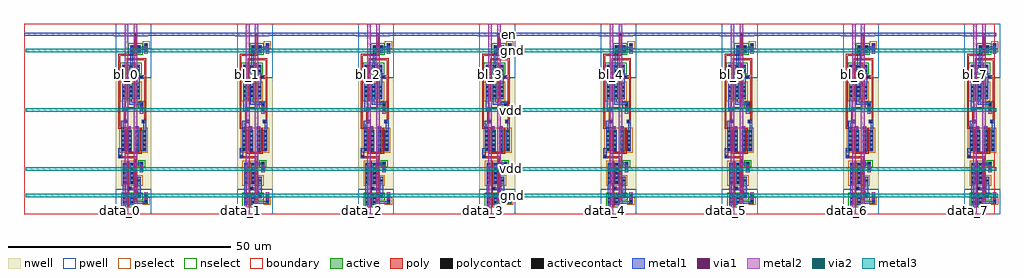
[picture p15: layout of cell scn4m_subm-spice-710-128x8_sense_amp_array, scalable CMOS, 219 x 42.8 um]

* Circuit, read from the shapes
.subckt scn4m_subm-spice-710-128x8_sense_amp_array bl_0 bl_1 bl_2 bl_3 bl_4 bl_5 bl_6 bl_7 br_0 br_1 br_2 br_3 br_4 br_5 br_6 br_7 data_0 data_1 data_2 data_3 data_4 data_5 data_6 data_7 en gnd vdd
M1 n1 n2 n3 gnd nfet w=1.8u l=0.4u
M2 gnd n4 data_0 gnd nfet w=2.4u l=0.4u
M3 n2 n3 n1 gnd nfet w=1.8u l=0.4u
M4 n4 n3 gnd gnd nfet w=0.8u l=0.4u
M5 gnd en n1 gnd nfet w=1.8u l=0.4u
M6 n5 n6 n7 gnd nfet w=1.8u l=0.4u
M7 gnd n8 data_1 gnd nfet w=2.4u l=0.4u
M8 n6 n7 n5 gnd nfet w=1.8u l=0.4u
M9 n8 n7 gnd gnd nfet w=0.8u l=0.4u
M10 gnd en n5 gnd nfet w=1.8u l=0.4u
M11 n9 n10 n11 gnd nfet w=1.8u l=0.4u
M12 gnd n12 data_2 gnd nfet w=2.4u l=0.4u
M13 n10 n11 n9 gnd nfet w=1.8u l=0.4u
M14 n12 n11 gnd gnd nfet w=0.8u l=0.4u
M15 gnd en n9 gnd nfet w=1.8u l=0.4u
M16 n13 n14 n15 gnd nfet w=1.8u l=0.4u
M17 gnd n16 data_3 gnd nfet w=2.4u l=0.4u
M18 n14 n15 n13 gnd nfet w=1.8u l=0.4u
M19 n16 n15 gnd gnd nfet w=0.8u l=0.4u
M20 gnd en n13 gnd nfet w=1.8u l=0.4u
M21 n17 n18 n19 gnd nfet w=1.8u l=0.4u
M22 gnd n20 data_4 gnd nfet w=2.4u l=0.4u
M23 n18 n19 n17 gnd nfet w=1.8u l=0.4u
M24 n20 n19 gnd gnd nfet w=0.8u l=0.4u
M25 gnd en n17 gnd nfet w=1.8u l=0.4u
M26 n21 n22 n23 gnd nfet w=1.8u l=0.4u
M27 gnd n24 data_5 gnd nfet w=2.4u l=0.4u
M28 n22 n23 n21 gnd nfet w=1.8u l=0.4u
M29 n24 n23 gnd gnd nfet w=0.8u l=0.4u
M30 gnd en n21 gnd nfet w=1.8u l=0.4u
M31 n25 n26 n27 gnd nfet w=1.8u l=0.4u
M32 gnd n28 data_6 gnd nfet w=2.4u l=0.4u
M33 n26 n27 n25 gnd nfet w=1.8u l=0.4u
M34 n28 n27 gnd gnd nfet w=0.8u l=0.4u
M35 gnd en n25 gnd nfet w=1.8u l=0.4u
M36 n29 n30 n31 gnd nfet w=1.8u l=0.4u
M37 gnd n32 data_7 gnd nfet w=2.4u l=0.4u
M38 n30 n31 n29 gnd nfet w=1.8u l=0.4u
M39 n32 n31 gnd gnd nfet w=0.8u l=0.4u
M40 gnd en n29 gnd nfet w=1.8u l=0.4u
M41 bl_0 en n3 vdd pfet w=4.8u l=0.4u
M42 vdd n2 n3 vdd pfet w=3.6u l=0.4u
M43 vdd n4 data_0 vdd pfet w=4.8u l=0.4u
M44 n2 n3 vdd vdd pfet w=3.6u l=0.4u
M45 n4 n3 vdd vdd pfet w=1.6u l=0.4u
M46 n2 en br_0 vdd pfet w=4.8u l=0.4u
M47 bl_1 en n7 vdd pfet w=4.8u l=0.4u
M48 vdd n6 n7 vdd pfet w=3.6u l=0.4u
M49 vdd n8 data_1 vdd pfet w=4.8u l=0.4u
M50 n6 n7 vdd vdd pfet w=3.6u l=0.4u
M51 n8 n7 vdd vdd pfet w=1.6u l=0.4u
M52 n6 en br_1 vdd pfet w=4.8u l=0.4u
M53 bl_2 en n11 vdd pfet w=4.8u l=0.4u
M54 vdd n10 n11 vdd pfet w=3.6u l=0.4u
M55 vdd n12 data_2 vdd pfet w=4.8u l=0.4u
M56 n10 n11 vdd vdd pfet w=3.6u l=0.4u
M57 n12 n11 vdd vdd pfet w=1.6u l=0.4u
M58 n10 en br_2 vdd pfet w=4.8u l=0.4u
M59 bl_3 en n15 vdd pfet w=4.8u l=0.4u
M60 vdd n14 n15 vdd pfet w=3.6u l=0.4u
M61 vdd n16 data_3 vdd pfet w=4.8u l=0.4u
M62 n14 n15 vdd vdd pfet w=3.6u l=0.4u
M63 n16 n15 vdd vdd pfet w=1.6u l=0.4u
M64 n14 en br_3 vdd pfet w=4.8u l=0.4u
M65 bl_4 en n19 vdd pfet w=4.8u l=0.4u
M66 vdd n18 n19 vdd pfet w=3.6u l=0.4u
M67 vdd n20 data_4 vdd pfet w=4.8u l=0.4u
M68 n18 n19 vdd vdd pfet w=3.6u l=0.4u
M69 n20 n19 vdd vdd pfet w=1.6u l=0.4u
M70 n18 en br_4 vdd pfet w=4.8u l=0.4u
M71 bl_5 en n23 vdd pfet w=4.8u l=0.4u
M72 vdd n22 n23 vdd pfet w=3.6u l=0.4u
M73 vdd n24 data_5 vdd pfet w=4.8u l=0.4u
M74 n22 n23 vdd vdd pfet w=3.6u l=0.4u
M75 n24 n23 vdd vdd pfet w=1.6u l=0.4u
M76 n22 en br_5 vdd pfet w=4.8u l=0.4u
M77 bl_6 en n27 vdd pfet w=4.8u l=0.4u
M78 vdd n26 n27 vdd pfet w=3.6u l=0.4u
M79 vdd n28 data_6 vdd pfet w=4.8u l=0.4u
M80 n26 n27 vdd vdd pfet w=3.6u l=0.4u
M81 n28 n27 vdd vdd pfet w=1.6u l=0.4u
M82 n26 en br_6 vdd pfet w=4.8u l=0.4u
M83 bl_7 en n31 vdd pfet w=4.8u l=0.4u
M84 vdd n30 n31 vdd pfet w=3.6u l=0.4u
M85 vdd n32 data_7 vdd pfet w=4.8u l=0.4u
M86 n30 n31 vdd vdd pfet w=3.6u l=0.4u
M87 n32 n31 vdd vdd pfet w=1.6u l=0.4u
M88 n30 en br_7 vdd pfet w=4.8u l=0.4u
.ends

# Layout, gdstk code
import gdstk
lib = gdstk.Library(unit=1e-6, precision=1e-09)
def R(c, l, rs):  # rectangles x0, y0, x1, y1
    for r in rs: c.add(gdstk.rectangle(r[:2], r[2:], *l))
def A(c, l, x, y, w, h, nx, ny, dx, dy):  # array of equal rectangles
    R(c, l, [(x+i*dx, y+j*dy, x+i*dx+w, y+j*dy+h) for i in range(nx) for j in range(ny)])
pwell = (41, 0)
nwell = (42, 0)
active = (43, 0)
pselect = (44, 0)
nselect = (45, 0)
poly = (46, 0)
polycontact = (47, 0)
activecontact = (48, 0)
metal1 = (49, 0)
via1 = (50, 0)
metal2 = (51, 0)
via2 = (61, 0)
metal3 = (62, 0)
boundary = (63, 0)

sense_amp = lib.new_cell('sense_amp')
R(sense_amp, pwell, [(0,0,8,5.6), (0,30.6,8,42.8)])
R(sense_amp, nwell, [(0,5.6,8,30.6)])
R(sense_amp, active, [(1.6,2,4,3.6), (6.4,2.6,7.2,3.4), (1.6,3.6,5.6,4.4), (1.6,6.8,5.6,8.4), (1.6,8.4,4,11.6), (5.4,11,6.2,11.8), (1.2,14.2,3.6,19), (4.4,14.2,6.8,19), (5.4,24.2,6.2,25), (1.4,25.8,5.4,29.4), (1.4,31.8,5.4,33.6), (3.2,36.2,5.6,38), (6.4,37.6,7.2,38.4)])
R(sense_amp, pselect, [(6,2.2,7.6,3.8), (1.2,6.4,6,8.8), (1.2,8.8,4.4,12), (0.8,13.8,7.2,19.4), (1,25.4,5.8,29.8), (6,37.2,7.6,38.8)])
R(sense_amp, nselect, [(1.2,1.6,4.4,3.2), (1.2,3.2,6,4.8), (5,10.6,6.6,12.2), (5,23.8,6.6,25.4), (1,31.4,5.8,34), (2.8,35.8,6,38.4)])
R(sense_amp, poly, [(2.6,1.6,3,5.4), (4.2,3.2,4.6,12.6), (2.6,5.4,3.6,6.2), (2.6,6.2,3,12), (0.6,12.6,4.6,13), (0.6,13,1.4,13.4), (2.2,13.6,5.8,14), (2.2,14,2.6,19.2), (5.4,14,5.8,19.4), (0.6,19.2,2.6,19.6), (0.6,19.6,1,35.6), (1.8,20.4,2.6,21.2), (5.8,20.4,6.8,21.2), (1.8,21.2,2.2,23.2), (6.4,21.2,6.8,30.4), (1.8,23.2,2.6,23.6), (1.8,23.6,4.4,24), (4,24,4.4,34), (2.4,25.4,2.8,34.6), (5.2,30.4,6.8,31.2), (6.4,31.2,6.8,34.6), (2.4,34.6,6.8,35), (0.6,35.6,4.6,36), (4.2,36,4.6,40), (4,40,4.8,40.8)])
R(sense_amp, polycontact, [(3,5.6,3.4,6), (0.8,12.8,1.2,13.2), (2,20.6,2.4,21), (6,20.6,6.4,21), (2,23.4,2.4,23.8), (5.4,30.6,5.8,31), (4.2,40.2,4.6,40.6)])
A(sense_amp, activecontact, 1.8, 7, 0.4, 0.4, 1, 5, 0, 1)
A(sense_amp, activecontact, 3.4, 7, 0.4, 0.4, 1, 5, 0, 1)
A(sense_amp, activecontact, 1.4, 14.4, 0.4, 0.4, 4, 5, 1.6, 1)
A(sense_amp, activecontact, 1.6, 26.4, 0.4, 0.4, 3, 3, 1.6, 1)
A(sense_amp, activecontact, 1.6, 32, 0.4, 0.4, 3, 2, 1.6, 1)
R(sense_amp, activecontact, [(1.8,2.5,2.2,2.9), (3.4,2.5,3.8,2.9), (6.6,2.8,7,3.2), (1.8,3.5,2.2,3.9), (3.4,3.5,3.8,3.9), (5,3.8,5.4,4.2), (5,7.4,5.4,7.8), (5.6,11.2,6,11.6), (5.6,24.4,6,24.8), (3.4,36.4,3.8,36.8), (5,36.4,5.4,36.8), (3.4,37.4,3.8,37.8), (5,37.4,5.4,37.8), (6.6,37.8,7,38.2)])
R(sense_amp, metal1, [(0.6,0.8,1.4,1), (0.6,1,2.2,1.6), (1.6,1.6,2.2,2), (1.6,2,2.4,4.4), (3.2,2,4,2.4), (3.2,2.4,7.2,3), (3.2,3,4,4.4), (6.4,3,7.2,4.2), (4.8,3.6,5.6,5.4), (1.6,4.4,2.2,6.8), (2.8,5.4,5.6,6), (2.8,6,3.6,6.2), (4.8,6,5.6,8.4), (1.6,6.8,2.4,11.6), (3.2,6.8,4,11), (5.4,10.2,6.2,11), (3.2,11,6.2,11.6), (5.4,11.6,6.2,11.8), (0.6,12.6,1.4,14.2), (0.6,14.2,2,14.8), (2.8,14.2,3.6,19), (4.4,14.2,5.2,19.8), (6,14.2,6.8,19), (1.2,14.8,2,19), (1.2,19,1.8,20.4), (2.6,19,3.4,19.8), (6.2,19,6.8,20.4), (1.2,20.4,2.6,21), (5.8,20.4,6.8,21.2), (1.8,21,2.6,21.2), (1.4,23.2,2.6,24), (5.4,23.4,6.2,24.6), (1.4,24,2.2,33.6), (3,24.6,6.2,25.2), (3,25.2,3.6,25.8), (3,25.8,3.8,29.4), (4.6,25.8,5.4,30.4), (4.6,30.4,6,31.2), (4.6,31.2,5.4,33.6), (3,31.8,3.8,33.6), (3.2,33.6,3.8,36.2), (3.2,36.2,4,38), (4.8,36.2,5.6,36.8), (4.8,36.8,7.2,37.6), (4.8,37.6,5.6,38), (6.4,37.6,7.2,38.4), (-0.4,40,7.2,40.8), (-0.4,40,7.2,40.8)])
R(sense_amp, via1, [(0.8,1,1.2,1.4), (6.6,3.6,7,4), (5.6,10.4,6,10.8), (2.8,19.2,3.2,19.6), (4.6,19.2,5,19.6), (5.6,23.6,6,24), (6.6,37,7,37.4)])
R(sense_amp, metal2, [(0.6,0,1.4,1.6), (0.6,0,1.4,1.6), (2,0,2.8,19), (4,0,4.8,19), (6.4,3.4,7.2,5), (6.4,3.4,7.2,5), (5.4,9.4,6.2,11), (5.4,9.4,6.2,11), (2,19,3.4,19.8), (4,19,5.2,19.8), (2,19.8,2.8,42.8), (2,19.8,2.8,42.8), (4,19.8,4.8,42.8), (4,19.8,4.8,42.8), (5.4,22.6,6.2,24.2), (5.4,22.6,6.2,24.2), (6.4,36,7.2,37.6), (6.4,36,7.2,37.6)])
R(sense_amp, boundary, [(0,0,6.8,42.8)])
sense_amp.add(gdstk.Label('dout', (1,0.4), layer=51, texttype=0))
sense_amp.add(gdstk.Label('vdd', (5.8,9.8), layer=51, texttype=0))
sense_amp.add(gdstk.Label('br', (4.4,42.4), layer=51, texttype=0))
sense_amp.add(gdstk.Label('bl', (2.4,42.4), layer=51, texttype=0))
sense_amp.add(gdstk.Label('vdd', (5.8,23), layer=51, texttype=0))
sense_amp.add(gdstk.Label('gnd', (6.8,36.4), layer=51, texttype=0))
sense_amp.add(gdstk.Label('en', (0,40), layer=49, texttype=0))
sense_amp.add(gdstk.Label('gnd', (6.8,4.6), layer=51, texttype=0))
sense_amp.add(gdstk.Label('bl', (2.4,31.3), layer=51, texttype=0))
sense_amp.add(gdstk.Label('br', (4.4,31.3), layer=51, texttype=0))
sense_amp.add(gdstk.Label('dout', (1,0.8), layer=51, texttype=0))
sense_amp.add(gdstk.Label('en', (3.4,40.4), layer=49, texttype=0))
sense_amp.add(gdstk.Label('vdd', (5.8,10.2), layer=51, texttype=0))
sense_amp.add(gdstk.Label('vdd', (5.8,23.4), layer=51, texttype=0))
sense_amp.add(gdstk.Label('gnd', (6.8,36.8), layer=51, texttype=0))
sense_amp.add(gdstk.Label('gnd', (6.8,4.2), layer=51, texttype=0))

scn4m_subm_spice_710_128 = lib.new_cell('scn4m_subm-spice-710-128x8_contact_19')
R(scn4m_subm_spice_710_128, metal2, [(0,0,0.8,0.8)])
R(scn4m_subm_spice_710_128, via2, [(0.2,0.2,0.6,0.6)])
R(scn4m_subm_spice_710_128, metal3, [(0,0,0.8,0.8)])
R(scn4m_subm_spice_710_128, boundary, [(0,0,0.8,0.8)])

c_scn4m_subm_spice_710_128 = lib.new_cell('scn4m_subm-spice-710-128x8_sense_amp_array')
A(c_scn4m_subm_spice_710_128, metal1, 23.7, 40.1, 0.6, 0.6, 8, 1, 27.2, 0)
R(c_scn4m_subm_spice_710_128, metal1, [(0,40.1,217.8,40.7)])
A(c_scn4m_subm_spice_710_128, metal2, 21.2, 0, 0.8, 1.6, 8, 1, 27.2, 0)
R(c_scn4m_subm_spice_710_128, metal2, [(22.6,19.8,23.4,42.8), (24.6,19.8,25.4,42.8), (49.8,19.8,50.6,42.8), (51.8,19.8,52.6,42.8), (77,19.8,77.8,42.8), (79,19.8,79.8,42.8), (104.2,19.8,105,42.8), (106.2,19.8,107,42.8), (131.4,19.8,132.2,42.8), (133.4,19.8,134.2,42.8), (158.6,19.8,159.4,42.8), (160.6,19.8,161.4,42.8), (185.8,19.8,186.6,42.8), (187.8,19.8,188.6,42.8), (213,19.8,213.8,42.8), (215,19.8,215.8,42.8)])
R(c_scn4m_subm_spice_710_128, metal3, [(0.4,3.8,218.6,4.6), (0.4,9.8,218.2,10.6), (0.4,23,218.2,23.8), (0.4,36.4,218.6,37.2)])
R(c_scn4m_subm_spice_710_128, boundary, [(0,0,217.8,42.8)])
c_scn4m_subm_spice_710_128.add(gdstk.Reference(sense_amp, (20.6,0)))
c_scn4m_subm_spice_710_128.add(gdstk.Reference(sense_amp, (47.8,0)))
c_scn4m_subm_spice_710_128.add(gdstk.Reference(sense_amp, (75,0)))
c_scn4m_subm_spice_710_128.add(gdstk.Reference(sense_amp, (102.2,0)))
c_scn4m_subm_spice_710_128.add(gdstk.Reference(sense_amp, (129.4,0)))
c_scn4m_subm_spice_710_128.add(gdstk.Reference(sense_amp, (156.6,0)))
c_scn4m_subm_spice_710_128.add(gdstk.Reference(sense_amp, (183.8,0)))
c_scn4m_subm_spice_710_128.add(gdstk.Reference(sense_amp, (211,0)))
c_scn4m_subm_spice_710_128.add(gdstk.Reference(scn4m_subm_spice_710_128, (26,9.8)))
c_scn4m_subm_spice_710_128.add(gdstk.Reference(scn4m_subm_spice_710_128, (53.2,9.8)))
c_scn4m_subm_spice_710_128.add(gdstk.Reference(scn4m_subm_spice_710_128, (80.4,9.8)))
c_scn4m_subm_spice_710_128.add(gdstk.Reference(scn4m_subm_spice_710_128, (107.6,9.8)))
c_scn4m_subm_spice_710_128.add(gdstk.Reference(scn4m_subm_spice_710_128, (134.8,9.8)))
c_scn4m_subm_spice_710_128.add(gdstk.Reference(scn4m_subm_spice_710_128, (162,9.8)))
c_scn4m_subm_spice_710_128.add(gdstk.Reference(scn4m_subm_spice_710_128, (189.2,9.8)))
c_scn4m_subm_spice_710_128.add(gdstk.Reference(scn4m_subm_spice_710_128, (216.4,9.8)))
c_scn4m_subm_spice_710_128.add(gdstk.Reference(scn4m_subm_spice_710_128, (26,23)))
c_scn4m_subm_spice_710_128.add(gdstk.Reference(scn4m_subm_spice_710_128, (53.2,23)))
c_scn4m_subm_spice_710_128.add(gdstk.Reference(scn4m_subm_spice_710_128, (80.4,23)))
c_scn4m_subm_spice_710_128.add(gdstk.Reference(scn4m_subm_spice_710_128, (107.6,23)))
c_scn4m_subm_spice_710_128.add(gdstk.Reference(scn4m_subm_spice_710_128, (134.8,23)))
c_scn4m_subm_spice_710_128.add(gdstk.Reference(scn4m_subm_spice_710_128, (162,23)))
c_scn4m_subm_spice_710_128.add(gdstk.Reference(scn4m_subm_spice_710_128, (189.2,23)))
c_scn4m_subm_spice_710_128.add(gdstk.Reference(scn4m_subm_spice_710_128, (216.4,23)))
c_scn4m_subm_spice_710_128.add(gdstk.Reference(scn4m_subm_spice_710_128, (27,36.4)))
c_scn4m_subm_spice_710_128.add(gdstk.Reference(scn4m_subm_spice_710_128, (54.2,36.4)))
c_scn4m_subm_spice_710_128.add(gdstk.Reference(scn4m_subm_spice_710_128, (81.4,36.4)))
c_scn4m_subm_spice_710_128.add(gdstk.Reference(scn4m_subm_spice_710_128, (108.6,36.4)))
c_scn4m_subm_spice_710_128.add(gdstk.Reference(scn4m_subm_spice_710_128, (135.8,36.4)))
c_scn4m_subm_spice_710_128.add(gdstk.Reference(scn4m_subm_spice_710_128, (163,36.4)))
c_scn4m_subm_spice_710_128.add(gdstk.Reference(scn4m_subm_spice_710_128, (190.2,36.4)))
c_scn4m_subm_spice_710_128.add(gdstk.Reference(scn4m_subm_spice_710_128, (217.4,36.4)))
c_scn4m_subm_spice_710_128.add(gdstk.Reference(scn4m_subm_spice_710_128, (27,3.8)))
c_scn4m_subm_spice_710_128.add(gdstk.Reference(scn4m_subm_spice_710_128, (54.2,3.8)))
c_scn4m_subm_spice_710_128.add(gdstk.Reference(scn4m_subm_spice_710_128, (81.4,3.8)))
c_scn4m_subm_spice_710_128.add(gdstk.Reference(scn4m_subm_spice_710_128, (108.6,3.8)))
c_scn4m_subm_spice_710_128.add(gdstk.Reference(scn4m_subm_spice_710_128, (135.8,3.8)))
c_scn4m_subm_spice_710_128.add(gdstk.Reference(scn4m_subm_spice_710_128, (163,3.8)))
c_scn4m_subm_spice_710_128.add(gdstk.Reference(scn4m_subm_spice_710_128, (190.2,3.8)))
c_scn4m_subm_spice_710_128.add(gdstk.Reference(scn4m_subm_spice_710_128, (217.4,3.8)))
c_scn4m_subm_spice_710_128.add(gdstk.Label('bl_0', (23,31.3), layer=51, texttype=0))
c_scn4m_subm_spice_710_128.add(gdstk.Label('br_0', (25,31.3), layer=51, texttype=0))
c_scn4m_subm_spice_710_128.add(gdstk.Label('data_0', (21.6,0.8), layer=51, texttype=0))
c_scn4m_subm_spice_710_128.add(gdstk.Label('bl_1', (50.2,31.3), layer=51, texttype=0))
c_scn4m_subm_spice_710_128.add(gdstk.Label('br_1', (52.2,31.3), layer=51, texttype=0))
c_scn4m_subm_spice_710_128.add(gdstk.Label('data_1', (48.8,0.8), layer=51, texttype=0))
c_scn4m_subm_spice_710_128.add(gdstk.Label('bl_2', (77.4,31.3), layer=51, texttype=0))
c_scn4m_subm_spice_710_128.add(gdstk.Label('br_2', (79.4,31.3), layer=51, texttype=0))
c_scn4m_subm_spice_710_128.add(gdstk.Label('data_2', (76,0.8), layer=51, texttype=0))
c_scn4m_subm_spice_710_128.add(gdstk.Label('bl_3', (104.6,31.3), layer=51, texttype=0))
c_scn4m_subm_spice_710_128.add(gdstk.Label('br_3', (106.6,31.3), layer=51, texttype=0))
c_scn4m_subm_spice_710_128.add(gdstk.Label('data_3', (103.2,0.8), layer=51, texttype=0))
c_scn4m_subm_spice_710_128.add(gdstk.Label('bl_4', (131.8,31.3), layer=51, texttype=0))
c_scn4m_subm_spice_710_128.add(gdstk.Label('br_4', (133.8,31.3), layer=51, texttype=0))
c_scn4m_subm_spice_710_128.add(gdstk.Label('data_4', (130.4,0.8), layer=51, texttype=0))
c_scn4m_subm_spice_710_128.add(gdstk.Label('bl_5', (159,31.3), layer=51, texttype=0))
c_scn4m_subm_spice_710_128.add(gdstk.Label('br_5', (161,31.3), layer=51, texttype=0))
c_scn4m_subm_spice_710_128.add(gdstk.Label('data_5', (157.6,0.8), layer=51, texttype=0))
c_scn4m_subm_spice_710_128.add(gdstk.Label('bl_6', (186.2,31.3), layer=51, texttype=0))
c_scn4m_subm_spice_710_128.add(gdstk.Label('br_6', (188.2,31.3), layer=51, texttype=0))
c_scn4m_subm_spice_710_128.add(gdstk.Label('data_6', (184.8,0.8), layer=51, texttype=0))
c_scn4m_subm_spice_710_128.add(gdstk.Label('bl_7', (213.4,31.3), layer=51, texttype=0))
c_scn4m_subm_spice_710_128.add(gdstk.Label('br_7', (215.4,31.3), layer=51, texttype=0))
c_scn4m_subm_spice_710_128.add(gdstk.Label('data_7', (212,0.8), layer=51, texttype=0))
c_scn4m_subm_spice_710_128.add(gdstk.Label('vdd', (109.3,23.4), layer=62, texttype=0))
c_scn4m_subm_spice_710_128.add(gdstk.Label('vdd', (109.3,10.2), layer=62, texttype=0))
c_scn4m_subm_spice_710_128.add(gdstk.Label('gnd', (109.5,36.8), layer=62, texttype=0))
c_scn4m_subm_spice_710_128.add(gdstk.Label('gnd', (109.5,4.2), layer=62, texttype=0))
c_scn4m_subm_spice_710_128.add(gdstk.Label('en', (108.9,40.4), layer=49, texttype=0))

lib.write_gds('scn4m_subm-spice-710-128x8_sense_amp_array.gds')
